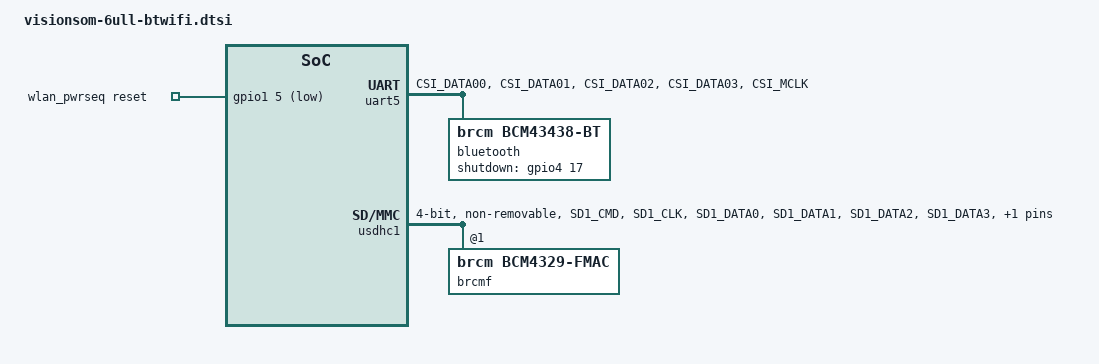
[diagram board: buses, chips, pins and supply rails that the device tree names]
/*
 * Copyright (C) 2020 SoMLabs
 *
 * This program is free software; you can redistribute it and/or modify
 * it under the terms of the GNU General Public License version 2 as
 * published by the Free Software Foundation.
 */

/ {
        wlan_pwrseq: wlanpwrseq {
                compatible = "mmc-pwrseq-simple";
                pinctrl-names = "default";
                pinctrl-0 = <&pinctrl_wlan_en>;
                reset-gpios = <&gpio1 5 GPIO_ACTIVE_LOW>;
        };

};

&iomuxc {
        visionsom-6ull-btwifi {
                pinctrl_bt_en: btengrp {
                        fsl,pins = <
                                MX6UL_PAD_CSI_MCLK__GPIO4_IO17 0x17059
                        >;
                };

                pinctrl_uart5: uart5grp {
                        fsl,pins = <
                                MX6UL_PAD_CSI_DATA00__UART5_DCE_TX      0x1b0b1
                                MX6UL_PAD_CSI_DATA01__UART5_DCE_RX      0x1b0b1
                                MX6UL_PAD_CSI_DATA02__UART5_DCE_RTS     0x1b0b1
                                MX6UL_PAD_CSI_DATA03__UART5_DCE_CTS     0x1b0b1
                        >;
                };

                pinctrl_usdhc1: usdhc1grp {
                        fsl,pins = <
                                MX6UL_PAD_SD1_CMD__USDHC1_CMD      0x17059
                                MX6UL_PAD_SD1_CLK__USDHC1_CLK      0x10071
                                MX6UL_PAD_SD1_DATA0__USDHC1_DATA0  0x17059
                                MX6UL_PAD_SD1_DATA1__USDHC1_DATA1  0x17059
                                MX6UL_PAD_SD1_DATA2__USDHC1_DATA2  0x17059
                                MX6UL_PAD_SD1_DATA3__USDHC1_DATA3  0x17059
                                MX6UL_PAD_JTAG_TCK__OSC32K_32K_OUT 0x17099
                        >;
                };

                pinctrl_usdhc1_100mhz: usdhc1grp_100mhz {
                        fsl,pins = <
                                MX6UL_PAD_SD1_CMD__USDHC1_CMD      0x17069
                                MX6UL_PAD_SD1_CLK__USDHC1_CLK      0x10069
                                MX6UL_PAD_SD1_DATA0__USDHC1_DATA0  0x17069
                                MX6UL_PAD_SD1_DATA1__USDHC1_DATA1  0x17069
                                MX6UL_PAD_SD1_DATA2__USDHC1_DATA2  0x17069
                                MX6UL_PAD_SD1_DATA3__USDHC1_DATA3  0x17069
                                MX6UL_PAD_JTAG_TCK__OSC32K_32K_OUT 0x17099
                        >;
                };

                pinctrl_usdhc1_200mhz: usdhc1grp_200mhz {
                        fsl,pins = <
                                MX6UL_PAD_SD1_CMD__USDHC1_CMD      0x170f9
                                MX6UL_PAD_SD1_CLK__USDHC1_CLK      0x100f9
                                MX6UL_PAD_SD1_DATA0__USDHC1_DATA0  0x170f9
                                MX6UL_PAD_SD1_DATA1__USDHC1_DATA1  0x170f9
                                MX6UL_PAD_SD1_DATA2__USDHC1_DATA2  0x170f9
                                MX6UL_PAD_SD1_DATA3__USDHC1_DATA3  0x170f9
                                MX6UL_PAD_JTAG_TCK__OSC32K_32K_OUT 0x17099
                        >;
                };

                pinctrl_wlan_en: wlanengrp {
                        fsl,pins = <
                                MX6UL_PAD_GPIO1_IO05__GPIO1_IO05 0x17059
                        >;
                };
        };
};

&uart5 {
        pinctrl-names = "default";
        pinctrl-0 = <&pinctrl_uart5 &pinctrl_bt_en>;
        fsl,uart-has-rtscts;
        dma-names = "", "";
        status = "okay";

        bluetooth {
                shutdown-gpios = <&gpio4 17 GPIO_ACTIVE_HIGH>;
                compatible = "brcm,bcm43438-bt";
                max-speed = <3000000>;
        };
};

&usdhc1 {
        #address-cells = <1>;
        #size-cells = <0>;
        pinctrl-names = "default", "state_100mhz", "state_200mhz";
        pinctrl-0 = <&pinctrl_usdhc1>;
        pinctrl-1 = <&pinctrl_usdhc1_100mhz>;
        pinctrl-2 = <&pinctrl_usdhc1_200mhz>;
        bus-width = <4>;
        pm-ignore-notify;
        keep-power-in-suspend;
        non-removable;
        status = "okay";
        cap-power-off-card;
        mmc-pwrseq = <&wlan_pwrseq>;

        brcmf: bcrmf@1 {
                reg = <1>;
                compatible = "brcm,bcm4329-fmac";
        };
};

